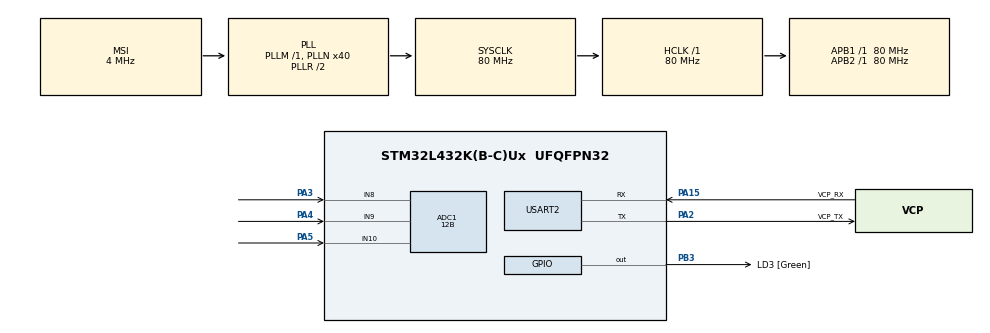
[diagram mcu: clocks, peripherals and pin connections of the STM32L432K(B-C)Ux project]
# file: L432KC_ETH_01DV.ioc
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ADC1.Channel-16\#ChannelRegularConversion=ADC_CHANNEL_8
ADC1.Channel-17\#ChannelRegularConversion=ADC_CHANNEL_9
ADC1.Channel-18\#ChannelRegularConversion=ADC_CHANNEL_10
ADC1.ClockPrescaler=ADC_CLOCK_ASYNC_DIV1
ADC1.ContinuousConvMode=ENABLE
ADC1.DMAContinuousRequests=ENABLE
ADC1.DataAlign=ADC_DATAALIGN_RIGHT
ADC1.DiscontinuousConvMode=DISABLE
ADC1.EOCSelection=ADC_EOC_SINGLE_CONV
ADC1.EnableAnalogWatchDog1=false
ADC1.EnableAnalogWatchDog2=false
ADC1.EnableAnalogWatchDog3=false
ADC1.EnableInjectedConversion=DISABLE
ADC1.EnableRegularConversion=ENABLE
ADC1.ExternalTrigConv=ADC_SOFTWARE_START
ADC1.ExternalTrigConvEdge=ADC_EXTERNALTRIGCONVEDGE_NONE
ADC1.LowPowerAutoWait=ENABLE
ADC1.NbrOfConversion=3
ADC1.NbrOfConversionFlag=1
ADC1.OffsetNumber-16\#ChannelRegularConversion=ADC_OFFSET_NONE
ADC1.OffsetNumber-17\#ChannelRegularConversion=ADC_OFFSET_NONE
ADC1.OffsetNumber-18\#ChannelRegularConversion=ADC_OFFSET_NONE
ADC1.Overrun=ADC_OVR_DATA_PRESERVED
ADC1.OversamplingMode=DISABLE
ADC1.Rank-16\#ChannelRegularConversion=1
ADC1.Rank-17\#ChannelRegularConversion=2
ADC1.Rank-18\#ChannelRegularConversion=3
ADC1.Resolution=ADC_RESOLUTION_12B
ADC1.SamplingTime-16\#ChannelRegularConversion=ADC_SAMPLETIME_640CYCLES_5
ADC1.SamplingTime-17\#ChannelRegularConversion=ADC_SAMPLETIME_640CYCLES_5
ADC1.SamplingTime-18\#ChannelRegularConversion=ADC_SAMPLETIME_640CYCLES_5
ADC1.ScanConvMode=ADC_SCAN_ENABLE
ADC1.master=1
Dma.ADC1.0.Direction=DMA_PERIPH_TO_MEMORY
Dma.ADC1.0.Instance=DMA1_Channel1
Dma.ADC1.0.MemDataAlignment=DMA_MDATAALIGN_WORD
Dma.ADC1.0.MemInc=DMA_MINC_ENABLE
Dma.ADC1.0.Mode=DMA_CIRCULAR
Dma.ADC1.0.PeriphDataAlignment=DMA_PDATAALIGN_WORD
Dma.ADC1.0.PeriphInc=DMA_PINC_DISABLE
Dma.ADC1.0.Priority=DMA_PRIORITY_LOW
Dma.Request0=ADC1
Mcu.Family=STM32L4
Mcu.Name=STM32L432K(B-C)Ux
Mcu.Package=UFQFPN32
NVIC.DMA1_Channel1_IRQn=true\:0\:0\:false\:false\:true\:false
NVIC.PriorityGroup=NVIC_PRIORITYGROUP_4
NVIC.TIM1_BRK_TIM15_IRQn=true\:0\:0\:false\:false\:true\:true
NVIC.TIM1_UP_TIM16_IRQn=true\:0\:0\:false\:false\:true\:true
NVIC.TIM2_IRQn=true\:0\:0\:false\:false\:true\:true
PA0.GPIO_Label=MCO [High speed clock in]
PA0.Mode=HSE-External-Clock-Source-for-LittleOrca
PA0.Signal=RCC_CK_IN
PA13\ (JTMS-SWDIO).GPIO_Label=SWDIO
PA13\ (JTMS-SWDIO).Mode=Serial_Wire
PA13\ (JTMS-SWDIO).Signal=SYS_JTMS-SWDIO
PA14\ (JTCK-SWCLK).GPIO_Label=SWCLK
PA14\ (JTCK-SWCLK).Mode=Serial_Wire
PA14\ (JTCK-SWCLK).Signal=SYS_JTCK-SWCLK
PA15\ (JTDI).GPIO_Label=VCP_RX
PA15\ (JTDI).Mode=Asynchronous
PA15\ (JTDI).Signal=USART2_RX
PA2.GPIO_Label=VCP_TX
PA2.Mode=Asynchronous
PA2.Signal=USART2_TX
PA3.Signal=ADCx_IN8
PA4.Signal=ADCx_IN9
PA5.Signal=ADCx_IN10
PB3\ (JTDO-TRACESWO).GPIO_Label=LD3 [Green]
PB3\ (JTDO-TRACESWO).Signal=GPIO_Output
PC14-OSC32_IN\ (PC14).Mode=LSE-External-Oscillator
PC14-OSC32_IN\ (PC14).Signal=RCC_OSC32_IN
PC15-OSC32_OUT\ (PC15).Mode=LSE-External-Oscillator
PC15-OSC32_OUT\ (PC15).Signal=RCC_OSC32_OUT
ProjectManager.HeapSize=0x200
ProjectManager.StackSize=0x400
ProjectManager.TargetToolchain=TrueSTUDIO
RCC.ADCFreq_Value=32000000
RCC.AHBFreq_Value=80000000
RCC.APB1Freq_Value=80000000
RCC.APB1TimFreq_Value=80000000
RCC.APB2Freq_Value=80000000
RCC.APB2TimFreq_Value=80000000
RCC.CortexFreq_Value=80000000
RCC.HCLKFreq_Value=80000000
RCC.HSE_VALUE=8000000
RCC.HSI16_VALUE=16000000
RCC.HSI48_VALUE=48000000
RCC.HSI_VALUE=16000000
RCC.MSI_VALUE=4000000
RCC.PLLMUL=RCC_PLLMUL_4
RCC.PLLN=40
RCC.PLLSAI1N=16
RCC.SYSCLKFreq_VALUE=80000000
RCC.SYSCLKSource=RCC_SYSCLKSOURCE_PLLCLK
RCC.USBFreq_Value=32000000
RCC.VCOOutputFreq_Value=160000000
SH.ADCx_IN10.0=ADC1_IN10,IN10-Single-Ended
SH.ADCx_IN8.0=ADC1_IN8,IN8-Single-Ended
SH.ADCx_IN9.0=ADC1_IN9,IN9-Single-Ended
TIM1.Period=4999
TIM1.Prescaler=7999
TIM2.Period=9999
TIM2.Prescaler=7999
USART2.VirtualMode-Asynchronous=VM_ASYNC
VP_TIM1_VS_ClockSourceINT.Mode=Internal
VP_TIM2_VS_ClockSourceINT.Mode=Internal
board=NUCLEO-L432KC

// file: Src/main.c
/**
  ******************************************************************************
  * @file           : main.c
  * @brief          : Main program body
  ******************************************************************************
  ** This notice applies to any and all portions of this file
  * that are not between comment pairs USER CODE BEGIN and
  * USER CODE END. Other portions of this file, whether
  * inserted by the user or by software development tools
  * are owned by their respective copyright owners.
  *
  * COPYRIGHT(c) 2018 STMicroelectronics
  *
  * Redistribution and use in source and binary forms, with or without modification,
  * are permitted provided that the following conditions are met:
  *   1. Redistributions of source code must retain the above copyright notice,
  *      this list of conditions and the following disclaimer.
  *   2. Redistributions in binary form must reproduce the above copyright notice,
  *      this list of conditions and the following disclaimer in the documentation
  *      and/or other materials provided with the distribution.
  *   3. Neither the name of STMicroelectronics nor the names of its contributors
  *      may be used to endorse or promote products derived from this software
  *      without specific prior written permission.
  *
  * THIS SOFTWARE IS PROVIDED BY THE COPYRIGHT HOLDERS AND CONTRIBUTORS "AS IS"
  * AND ANY EXPRESS OR IMPLIED WARRANTIES, INCLUDING, BUT NOT LIMITED TO, THE
  * IMPLIED WARRANTIES OF MERCHANTABILITY AND FITNESS FOR A PARTICULAR PURPOSE ARE
  * DISCLAIMED. IN NO EVENT SHALL THE COPYRIGHT HOLDER OR CONTRIBUTORS BE LIABLE
  * FOR ANY DIRECT, INDIRECT, INCIDENTAL, SPECIAL, EXEMPLARY, OR CONSEQUENTIAL
  * DAMAGES (INCLUDING, BUT NOT LIMITED TO, PROCUREMENT OF SUBSTITUTE GOODS OR
  * SERVICES; LOSS OF USE, DATA, OR PROFITS; OR BUSINESS INTERRUPTION) HOWEVER
  * CAUSED AND ON ANY THEORY OF LIABILITY, WHETHER IN CONTRACT, STRICT LIABILITY,
  * OR TORT (INCLUDING NEGLIGENCE OR OTHERWISE) ARISING IN ANY WAY OUT OF THE USE
  * OF THIS SOFTWARE, EVEN IF ADVISED OF THE POSSIBILITY OF SUCH DAMAGE.
  *
  ******************************************************************************
  */
#include "main.h"
#include "stm32l4xx_hal.h"

/* USER CODE BEGIN Includes */
#include <stdio.h>
/* USER CODE END Includes */

ADC_HandleTypeDef hadc1;
DMA_HandleTypeDef hdma_adc1;

TIM_HandleTypeDef htim1;
TIM_HandleTypeDef htim2;

UART_HandleTypeDef huart2;

/* USER CODE BEGIN PV */
/* Private variables ---------------------------------------------------------*/
volatile uint32_t ADC[3];

/* USER CODE END PV */

void SystemClock_Config(void);
static void MX_GPIO_Init(void);
static void MX_DMA_Init(void);
static void MX_USART2_UART_Init(void);
static void MX_ADC1_Init(void);
static void MX_TIM1_Init(void);
static void MX_TIM2_Init(void);

/* USER CODE BEGIN PFP */
/* Private function prototypes -----------------------------------------------*/
void HAL_TIM_PeriodElapsedCallback(TIM_HandleTypeDef *htim);

/* USER CODE END PFP */

/* USER CODE BEGIN 0 */
void HAL_TIM_PeriodElapsedCallback(TIM_HandleTypeDef *htim)
{
	if(htim->Instance==TIM1) {
			HAL_GPIO_TogglePin(LD3_GPIO_Port, LD3_Pin);
	}
	else if(htim->Instance==TIM2) {
		printf("Data : %10lu,%10.3f,%10.3f\r\n",ADC[0],
				          ((double)ADC[1]/ADC[0])*125-12.5,
						  ((double)ADC[2]/ADC[0])*218.75-66.875);
	}
}

//**********************************************************************
// printf
//**********************************************************************

#ifdef __GNUC__
int _write(int file,uint8_t*ptr,int len)
{
	HAL_UART_Transmit(&huart2,ptr,len,1000);
return len;
}
#elif (__ICCARM__||__CC_ARM)
int fputc(int c,FILE*stream)
{
	HAL_UART_Transmit(&huart2,(uint8_t*)&c,1,1000);
	return c;
}
#endif

/* USER CODE END 0 */

int main(void)
{

  /* MCU Configuration----------------------------------------------------------*/

  /* Reset of all peripherals, Initializes the Flash interface and the Systick. */
  HAL_Init();

  /* Configure the system clock */
  SystemClock_Config();

  /* Initialize all configured peripherals */
  MX_GPIO_Init();
  MX_DMA_Init();
  MX_USART2_UART_Init();
  MX_ADC1_Init();
  MX_TIM1_Init();
  MX_TIM2_Init();
  /* USER CODE BEGIN 2 */

  HAL_ADC_Start_DMA(&hadc1,(uint32_t *)ADC,3);
  HAL_Delay(100);

  while(HAL_TIM_Base_Start_IT(&htim1)!=HAL_OK);
  while(HAL_TIM_Base_Start_IT(&htim2)!=HAL_OK);

  /* USER CODE END 2 */

  /* Infinite loop */
  while (1)
  {

  }

}

void SystemClock_Config(void)
{

  RCC_OscInitTypeDef RCC_OscInitStruct;
  RCC_ClkInitTypeDef RCC_ClkInitStruct;
  RCC_PeriphCLKInitTypeDef PeriphClkInit;

    /**Configure LSE Drive Capability
    */
  HAL_PWR_EnableBkUpAccess();

  __HAL_RCC_LSEDRIVE_CONFIG(RCC_LSEDRIVE_LOW);

    /**Initializes the CPU, AHB and APB busses clocks
    */
  RCC_OscInitStruct.OscillatorType = RCC_OSCILLATORTYPE_LSE|RCC_OSCILLATORTYPE_MSI;
  RCC_OscInitStruct.LSEState = RCC_LSE_ON;
  RCC_OscInitStruct.MSIState = RCC_MSI_ON;
  RCC_OscInitStruct.MSICalibrationValue = 0;
  RCC_OscInitStruct.MSIClockRange = RCC_MSIRANGE_6;
  RCC_OscInitStruct.PLL.PLLState = RCC_PLL_ON;
  RCC_OscInitStruct.PLL.PLLSource = RCC_PLLSOURCE_MSI;
  RCC_OscInitStruct.PLL.PLLM = 1;
  RCC_OscInitStruct.PLL.PLLN = 40;
  RCC_OscInitStruct.PLL.PLLP = RCC_PLLP_DIV7;
  RCC_OscInitStruct.PLL.PLLQ = RCC_PLLQ_DIV2;
  RCC_OscInitStruct.PLL.PLLR = RCC_PLLR_DIV2;
  if (HAL_RCC_OscConfig(&RCC_OscInitStruct) != HAL_OK)
  {
    _Error_Handler(__FILE__, __LINE__);
  }

    /**Initializes the CPU, AHB and APB busses clocks
    */
  RCC_ClkInitStruct.ClockType = RCC_CLOCKTYPE_HCLK|RCC_CLOCKTYPE_SYSCLK
                              |RCC_CLOCKTYPE_PCLK1|RCC_CLOCKTYPE_PCLK2;
  RCC_ClkInitStruct.SYSCLKSource = RCC_SYSCLKSOURCE_PLLCLK;
  RCC_ClkInitStruct.AHBCLKDivider = RCC_SYSCLK_DIV1;
  RCC_ClkInitStruct.APB1CLKDivider = RCC_HCLK_DIV1;
  RCC_ClkInitStruct.APB2CLKDivider = RCC_HCLK_DIV1;

  if (HAL_RCC_ClockConfig(&RCC_ClkInitStruct, FLASH_LATENCY_4) != HAL_OK)
  {
    _Error_Handler(__FILE__, __LINE__);
  }

  PeriphClkInit.PeriphClockSelection = RCC_PERIPHCLK_USART2|RCC_PERIPHCLK_ADC;
  PeriphClkInit.Usart2ClockSelection = RCC_USART2CLKSOURCE_PCLK1;
  PeriphClkInit.AdcClockSelection = RCC_ADCCLKSOURCE_PLLSAI1;
  PeriphClkInit.PLLSAI1.PLLSAI1Source = RCC_PLLSOURCE_MSI;
  PeriphClkInit.PLLSAI1.PLLSAI1M = 1;
  PeriphClkInit.PLLSAI1.PLLSAI1N = 16;
  PeriphClkInit.PLLSAI1.PLLSAI1P = RCC_PLLP_DIV7;
  PeriphClkInit.PLLSAI1.PLLSAI1Q = RCC_PLLQ_DIV2;
  PeriphClkInit.PLLSAI1.PLLSAI1R = RCC_PLLR_DIV2;
  PeriphClkInit.PLLSAI1.PLLSAI1ClockOut = RCC_PLLSAI1_ADC1CLK;
  if (HAL_RCCEx_PeriphCLKConfig(&PeriphClkInit) != HAL_OK)
  {
    _Error_Handler(__FILE__, __LINE__);
  }

    /**Configure the main internal regulator output voltage
    */
  if (HAL_PWREx_ControlVoltageScaling(PWR_REGULATOR_VOLTAGE_SCALE1) != HAL_OK)
  {
    _Error_Handler(__FILE__, __LINE__);
  }

    /**Configure the Systick interrupt time
    */
  HAL_SYSTICK_Config(HAL_RCC_GetHCLKFreq()/1000);

    /**Configure the Systick
    */
  HAL_SYSTICK_CLKSourceConfig(SYSTICK_CLKSOURCE_HCLK);

    /**Enable MSI Auto calibration
    */
  HAL_RCCEx_EnableMSIPLLMode();

  /* SysTick_IRQn interrupt configuration */
  HAL_NVIC_SetPriority(SysTick_IRQn, 0, 0);
}

/* ADC1 init function */
static void MX_ADC1_Init(void)
{

  ADC_ChannelConfTypeDef sConfig;

    /**Common config
    */
  hadc1.Instance = ADC1;
  hadc1.Init.ClockPrescaler = ADC_CLOCK_ASYNC_DIV1;
  hadc1.Init.Resolution = ADC_RESOLUTION_12B;
  hadc1.Init.DataAlign = ADC_DATAALIGN_RIGHT;
  hadc1.Init.ScanConvMode = ADC_SCAN_ENABLE;
  hadc1.Init.EOCSelection = ADC_EOC_SINGLE_CONV;
  hadc1.Init.LowPowerAutoWait = ENABLE;
  hadc1.Init.ContinuousConvMode = ENABLE;
  hadc1.Init.NbrOfConversion = 3;
  hadc1.Init.DiscontinuousConvMode = DISABLE;
  hadc1.Init.ExternalTrigConv = ADC_SOFTWARE_START;
  hadc1.Init.ExternalTrigConvEdge = ADC_EXTERNALTRIGCONVEDGE_NONE;
  hadc1.Init.DMAContinuousRequests = ENABLE;
  hadc1.Init.Overrun = ADC_OVR_DATA_PRESERVED;
  hadc1.Init.OversamplingMode = DISABLE;
  if (HAL_ADC_Init(&hadc1) != HAL_OK)
  {
    _Error_Handler(__FILE__, __LINE__);
  }

    /**Configure Regular Channel
    */
  sConfig.Channel = ADC_CHANNEL_8;
  sConfig.Rank = ADC_REGULAR_RANK_1;
  sConfig.SamplingTime = ADC_SAMPLETIME_640CYCLES_5;
  sConfig.SingleDiff = ADC_SINGLE_ENDED;
  sConfig.OffsetNumber = ADC_OFFSET_NONE;
  sConfig.Offset = 0;
  if (HAL_ADC_ConfigChannel(&hadc1, &sConfig) != HAL_OK)
  {
    _Error_Handler(__FILE__, __LINE__);
  }

    /**Configure Regular Channel
    */
  sConfig.Channel = ADC_CHANNEL_9;
  sConfig.Rank = ADC_REGULAR_RANK_2;
  if (HAL_ADC_ConfigChannel(&hadc1, &sConfig) != HAL_OK)
  {
    _Error_Handler(__FILE__, __LINE__);
  }

    /**Configure Regular Channel
    */
  sConfig.Channel = ADC_CHANNEL_10;
  sConfig.Rank = ADC_REGULAR_RANK_3;
  if (HAL_ADC_ConfigChannel(&hadc1, &sConfig) != HAL_OK)
  {
    _Error_Handler(__FILE__, __LINE__);
  }

}

/* TIM1 init function */
static void MX_TIM1_Init(void)
{

  TIM_ClockConfigTypeDef sClockSourceConfig;
  TIM_MasterConfigTypeDef sMasterConfig;

  htim1.Instance = TIM1;
  htim1.Init.Prescaler = 7999;
  htim1.Init.CounterMode = TIM_COUNTERMODE_UP;
  htim1.Init.Period = 4999;
  htim1.Init.ClockDivision = TIM_CLOCKDIVISION_DIV1;
  htim1.Init.RepetitionCounter = 0;
  htim1.Init.AutoReloadPreload = TIM_AUTORELOAD_PRELOAD_DISABLE;
  if (HAL_TIM_Base_Init(&htim1) != HAL_OK)
  {
    _Error_Handler(__FILE__, __LINE__);
  }

  sClockSourceConfig.ClockSource = TIM_CLOCKSOURCE_INTERNAL;
  if (HAL_TIM_ConfigClockSource(&htim1, &sClockSourceConfig) != HAL_OK)
  {
    _Error_Handler(__FILE__, __LINE__);
  }

  sMasterConfig.MasterOutputTrigger = TIM_TRGO_RESET;
  sMasterConfig.MasterOutputTrigger2 = TIM_TRGO2_RESET;
  sMasterConfig.MasterSlaveMode = TIM_MASTERSLAVEMODE_DISABLE;
  if (HAL_TIMEx_MasterConfigSynchronization(&htim1, &sMasterConfig) != HAL_OK)
  {
    _Error_Handler(__FILE__, __LINE__);
  }

}

/* TIM2 init function */
static void MX_TIM2_Init(void)
{

  TIM_ClockConfigTypeDef sClockSourceConfig;
  TIM_MasterConfigTypeDef sMasterConfig;

  htim2.Instance = TIM2;
  htim2.Init.Prescaler = 7999;
  htim2.Init.CounterMode = TIM_COUNTERMODE_UP;
  htim2.Init.Period = 9999;
  htim2.Init.ClockDivision = TIM_CLOCKDIVISION_DIV1;
  htim2.Init.AutoReloadPreload = TIM_AUTORELOAD_PRELOAD_DISABLE;
  if (HAL_TIM_Base_Init(&htim2) != HAL_OK)
  {
    _Error_Handler(__FILE__, __LINE__);
  }

  sClockSourceConfig.ClockSource = TIM_CLOCKSOURCE_INTERNAL;
  if (HAL_TIM_ConfigClockSource(&htim2, &sClockSourceConfig) != HAL_OK)
  {
    _Error_Handler(__FILE__, __LINE__);
  }

  sMasterConfig.MasterOutputTrigger = TIM_TRGO_RESET;
  sMasterConfig.MasterSlaveMode = TIM_MASTERSLAVEMODE_DISABLE;
  if (HAL_TIMEx_MasterConfigSynchronization(&htim2, &sMasterConfig) != HAL_OK)
  {
    _Error_Handler(__FILE__, __LINE__);
  }

}

/* USART2 init function */
static void MX_USART2_UART_Init(void)
{

  huart2.Instance = USART2;
  huart2.Init.BaudRate = 115200;
  huart2.Init.WordLength = UART_WORDLENGTH_8B;
  huart2.Init.StopBits = UART_STOPBITS_1;
  huart2.Init.Parity = UART_PARITY_NONE;
  huart2.Init.Mode = UART_MODE_TX_RX;
  huart2.Init.HwFlowCtl = UART_HWCONTROL_NONE;
  huart2.Init.OverSampling = UART_OVERSAMPLING_16;
  huart2.Init.OneBitSampling = UART_ONE_BIT_SAMPLE_DISABLE;
  huart2.AdvancedInit.AdvFeatureInit = UART_ADVFEATURE_NO_INIT;
  if (HAL_UART_Init(&huart2) != HAL_OK)
  {
    _Error_Handler(__FILE__, __LINE__);
  }

}

static void MX_DMA_Init(void)
{
  /* DMA controller clock enable */
  __HAL_RCC_DMA1_CLK_ENABLE();

  /* DMA interrupt init */
  /* DMA1_Channel1_IRQn interrupt configuration */
  HAL_NVIC_SetPriority(DMA1_Channel1_IRQn, 0, 0);
  HAL_NVIC_EnableIRQ(DMA1_Channel1_IRQn);

}

/** Configure pins as
        * Analog
        * Input
        * Output
        * EVENT_OUT
        * EXTI
*/
static void MX_GPIO_Init(void)
{

  GPIO_InitTypeDef GPIO_InitStruct;

  /* GPIO Ports Clock Enable */
  __HAL_RCC_GPIOC_CLK_ENABLE();
  __HAL_RCC_GPIOA_CLK_ENABLE();
  __HAL_RCC_GPIOB_CLK_ENABLE();

  /*Configure GPIO pin Output Level */
  HAL_GPIO_WritePin(LD3_GPIO_Port, LD3_Pin, GPIO_PIN_RESET);

  /*Configure GPIO pin : LD3_Pin */
  GPIO_InitStruct.Pin = LD3_Pin;
  GPIO_InitStruct.Mode = GPIO_MODE_OUTPUT_PP;
  GPIO_InitStruct.Pull = GPIO_NOPULL;
  GPIO_InitStruct.Speed = GPIO_SPEED_FREQ_LOW;
  HAL_GPIO_Init(LD3_GPIO_Port, &GPIO_InitStruct);

}

void _Error_Handler(char *file, int line)
{
  while(1)
  {
  }
}

/************************ (C) COPYRIGHT STMicroelectronics *****END OF FILE****/
